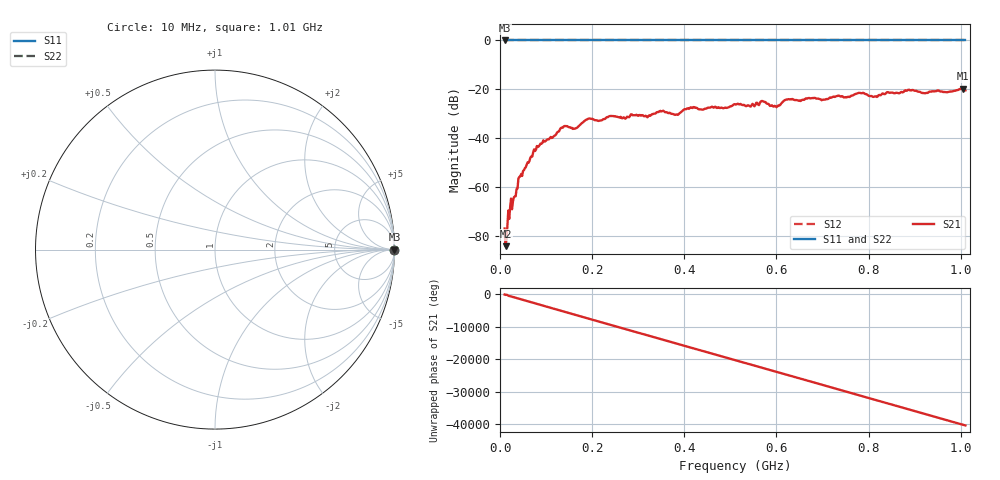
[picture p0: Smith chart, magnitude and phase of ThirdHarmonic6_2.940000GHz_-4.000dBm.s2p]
! 8/17/2025 8:14:07 AM
! C:\ANRITSUVNA\TEMP\TEMP.S2P
! CHANNEL.1
! TR.MEASUREMENT
! RAW.DATA
! RF.CORRECTION.OFF
! AVERAGING.OFF
! IF.BANDWIDTH: 5KHZ
! SWEEPTYPE:  FREQ.SWEEP(Linear)
! Reference Plane Port Info
! PORT:  PORT1  PORT2
! DISTANCE:  0  m  0  m
! TIME:  0  s  0  s
! PHASE.OFFSET:  0  deg.  0  deg.
! LOSS:  0  dB  0  dB
! REF.LOSS:  0  dB  0  dB
! REF.FREQ:  0  Hz  0  Hz
! Power Info
! POWER:  -20  dBm  -20  dBm
! EFF.POWER:  -20  dBm  -20  dBm
! SOURCE.ATTEN:  0  dB  0  dB
! TEST.ATTEN:  0  dB  0  dB
# GHZ S RI R 50.0
! FREQ.GHZ  S11RE  S11IM  S21RE  S21IM  S12RE  S12IM  S22RE  S22IM
!; PortSelection: Port_12
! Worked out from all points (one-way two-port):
!   501 points, 10 MHz to 1.01 GHz, reference 50 ohm
!   highest |S21| = -19.74 dB at 1.004 GHz (marker M1); lowest = -84.2 dB at 12 MHz (marker M2)
!   lowest |S11| = 0.0 dB at 10 MHz (marker M3)
!   |S11| at or under -10 dB: nowhere
!   |S22| runs from 0.0 to 0.0 dB; largest |S21 - S12| = 1.1
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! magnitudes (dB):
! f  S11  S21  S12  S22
! 10 MHz  0.0  -77.0  0.0  0.0
! 12 MHz  0.0  -84.2  0.0  0.0
! 16 MHz  0.0  -76.0  0.0  0.0
! 20 MHz  0.0  -73.0  0.0  0.0
! 42 MHz  0.0  -55.8  0.0  0.0
! 76 MHz  0.0  -45.3  0.0  0.0
! 136 MHz  0.0  -35.7  0.0  0.0
! 162 MHz  0.0  -36.1  0.0  0.0
! 178 MHz  0.0  -33.7  0.0  0.0
! 192 MHz  0.0  -32.0  0.0  0.0
! 322 MHz  0.0  -31.0  0.0  0.0
! 344 MHz  0.0  -29.3  0.0  0.0
! 382 MHz  0.0  -30.3  0.0  0.0
! 416 MHz  0.0  -27.6  0.0  0.0
! 510 MHz  0.0  -26.1  0.0  0.0
! 570 MHz  0.0  -24.8  0.0  0.0
! 598 MHz  0.0  -26.9  0.0  0.0
! 622 MHz  0.0  -24.2  0.0  0.0
! 678 MHz  0.0  -23.6  0.0  0.0
! 844 MHz  0.0  -21.3  0.0  0.0
! 1.004 GHz  0.0  -19.7  0.0  0.0
! 1.01 GHz  0.0  -20.4  0.0  0.0
